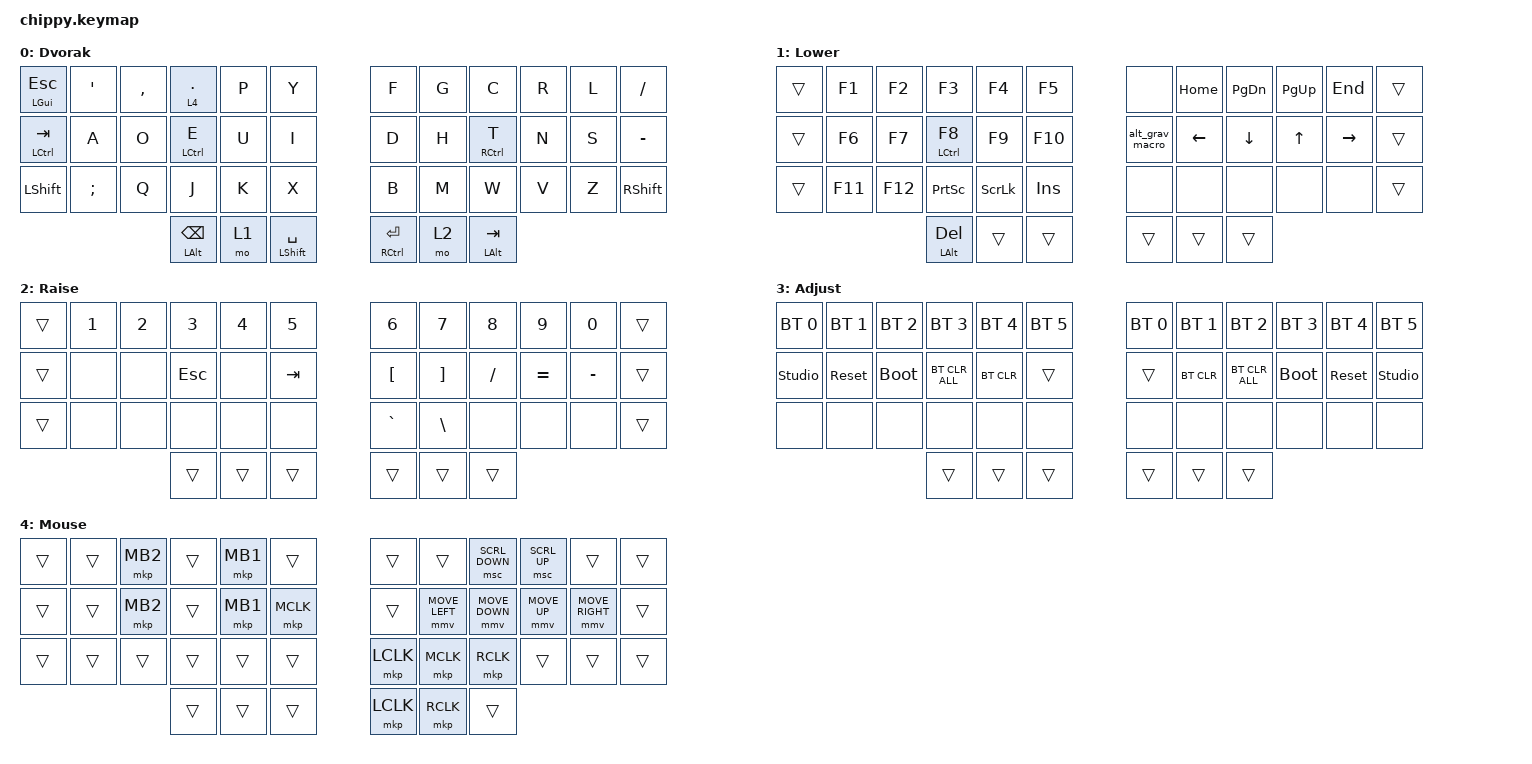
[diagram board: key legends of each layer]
/*
 * Copyright (c) 2020 The ZMK Contributors
 *
 * SPDX-License-Identifier: MIT
 */

#include <behaviors.dtsi>
#include <dt-bindings/zmk/keys.h>
#include <dt-bindings/zmk/bt.h>
#include <dt-bindings/zmk/outputs.h>
#include <dt-bindings/zmk/pointing.h>

#ifndef USE_DVORAK_AS_DEFAULT
#define USE_DVORAK_AS_DEFAULT 1
#endif

/ {
    behaviors {
        mt: mod_tap {
            compatible = "zmk,behavior-hold-tap";
            #binding-cells = <2>;
            tapping-term-ms = <200>;
            flavor = "tap-preferred";
            quick-tap-ms = <150>;
            bindings = <&kp>, <&kp>;
        };

        // Alt + ` macro for Japanese IME switching on Windows
        alt_grav_macro: alt_grav_macro {
            compatible = "zmk,behavior-macro";
            #binding-cells = <0>;
            bindings =
                <&macro_press>,
                <&kp LALT>,
                <&macro_tap>,
                <&kp GRAVE>,
                <&macro_release>,
                <&kp LALT>;
        };
    };

    conditional_layers {
        compatible = "zmk,conditional-layers";
        tri_layer {
            if-layers = <1 2>;
            then-layer = <3>;
        };
    };

    keymap {
        compatible = "zmk,keymap";

#if USE_DVORAK_AS_DEFAULT
        // ==========================================
        // Layer 0: Default (Dvorak)
        // ==========================================
        default_layer {
            display-name = "Dvorak";
            bindings = <
&mt LGUI ESC   &kp SQT        &kp COMMA  &lt 4 DOT           &kp P            &kp Y       &kp F            &kp G     &kp C                &kp R  &kp L      &kp SLASH
&mt LCTRL TAB  &kp A          &kp O      &mt LEFT_CONTROL E  &kp U            &kp I       &kp D            &kp H     &mt RIGHT_CONTROL T  &kp N  &kp S      &kp MINUS
&kp LSHFT      &kp SEMICOLON  &kp Q      &kp J               &kp K            &kp X       &kp B            &kp M     &kp W                &kp V  &kp Z      &kp RSHIFT
                                         &mt LALT BSPC       &mo 1            &mt LSHIFT SPACE  &mt RCTRL ENTER  &mo 2     &mt LALT TAB
            >;
        };
#else
        // ==========================================
        // Layer 0: Default (Qwerty)
        // ==========================================
        default_layer {
            display-name = "Qwerty";
            bindings = <
&mt LGUI ESC   &kp Q          &kp W      &kp E               &kp R            &kp T       &kp Y            &kp U     &kp I                &kp O      &kp P      &kp LBKT
&mt LCTRL TAB  &kp A          &kp S      &mt LEFT_CONTROL D  &kp F            &kp G       &kp H            &kp J     &mt RIGHT_CONTROL K  &kp L      &kp SEMI   &kp SQT
&kp LSHFT      &kp Z          &kp X      &kp C               &kp V            &kp B       &kp N            &kp M     &kp COMMA            &lt 4 DOT  &kp SLASH  &kp RSHIFT
                                         &mt LALT BSPC       &mo 1            &mt LSHIFT SPACE  &mt RCTRL ENTER  &mo 2     &mt LALT TAB
            >;
        };
#endif

        // ==========================================
        // Layer 1: Lower (Function & Navigation & IME)
        // ==========================================
        lower_layer {
            display-name = "Lower";
            bindings = <
&trans  &kp F1        &kp F2   &kp F3               &kp F4    &kp F5     &none            &kp HOME  &kp PAGE_DOWN  &kp PAGE_UP  &kp END    &trans
&trans  &kp F6        &kp F7   &mt LEFT_CONTROL F8  &kp F9    &kp F10    &alt_grav_macro  &kp LEFT  &kp DOWN       &kp UP       &kp RIGHT  &trans
&trans  &kp F11       &kp F12  &kp PSCRN            &kp SLCK  &kp INS    &none            &none     &none          &none        &none      &trans
                               &mt LALT DEL         &trans    &trans     &trans           &trans    &trans
            >;
        };

        // ==========================================
        // Layer 2: Raise (Numbers & Symbols)
        // ==========================================
        raise_layer {
            display-name = "Raise";
            bindings = <
&trans  &kp N1  &kp N2  &kp N3   &kp N4  &kp N5     &kp N6     &kp N7    &kp N8     &kp N9     &kp N0     &trans
&trans  &none   &none   &kp ESC  &none   &kp TAB    &kp LBKT   &kp RBKT  &kp SLASH  &kp EQUAL  &kp MINUS  &trans
&trans  &none   &none   &none    &none   &none      &kp GRAVE  &kp BSLH  &none      &none      &none      &trans
                        &trans   &trans  &trans     &trans     &trans    &trans
            >;
        };

        // ==========================================
        // Layer 3: Adjust (BLE, System & Unlock)
        // ==========================================
        adjust_layer {
            display-name = "Adjust";
            bindings = <
&bt BT_SEL 0    &bt BT_SEL 1  &bt BT_SEL 2  &bt BT_SEL 3    &bt BT_SEL 4  &bt BT_SEL 5      &bt BT_SEL 0  &bt BT_SEL 1  &bt BT_SEL 2    &bt BT_SEL 3  &bt BT_SEL 4  &bt BT_SEL 5
&studio_unlock  &sys_reset    &bootloader   &bt BT_CLR_ALL  &bt BT_CLR    &trans            &trans        &bt BT_CLR    &bt BT_CLR_ALL  &bootloader   &sys_reset    &studio_unlock
&none           &none         &none         &none           &none         &none             &none         &none         &none           &none         &none         &none
                                            &trans          &trans        &trans            &trans        &trans        &trans
            >;
        };

        // ==========================================
        // Layer 4: Mouse (Triggered by holding '.')
        // ==========================================
        mouse_layer {
            display-name = "Mouse";
            bindings = <
&trans  &trans  &mkp MB2  &trans  &mkp MB1   &trans       &trans     &trans          &msc SCRL_DOWN  &msc SCRL_UP  &trans           &trans
&trans  &trans  &mkp MB2  &trans  &mkp MB1   &mkp MCLK    &trans     &mmv MOVE_LEFT  &mmv MOVE_DOWN  &mmv MOVE_UP  &mmv MOVE_RIGHT  &trans
&trans  &trans  &trans    &trans  &trans     &trans       &mkp LCLK  &mkp MCLK       &mkp RCLK       &trans        &trans           &trans
                          &trans  &trans     &trans       &mkp LCLK  &mkp RCLK       &trans
            >;
        };

        extra1 {
            status = "reserved";
        };

        extra2 {
            status = "reserved";
        };
    };
};
